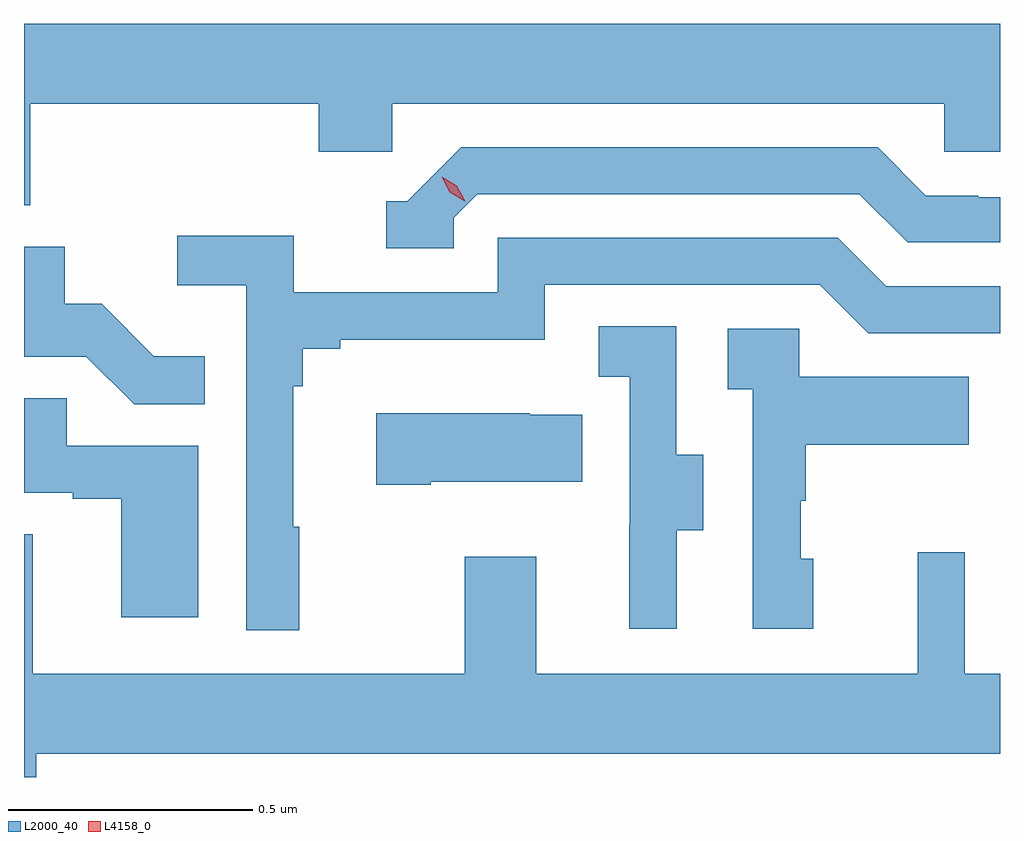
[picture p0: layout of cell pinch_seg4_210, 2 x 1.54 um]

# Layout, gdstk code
import gdstk
lib = gdstk.Library(unit=1e-6, precision=1e-09)
def P(c, l, *ps):  # polygons
    for p in ps: c.add(gdstk.Polygon(p, *l))
L2000_40 = (2000, 40)
L4158_0 = (4158, 0)

pinch_seg4_210 = lib.new_cell('pinch_seg4_210')
P(pinch_seg4_210, L2000_40, [(975.236,823.46),(975.827,823.46),(975.827,823.362),(975.978,823.362),(975.978,823.46),(977.109,823.46),(977.109,823.362),(977.223,823.362),(977.223,823.624),(975.223,823.624),(975.223,823.252),(975.236,823.252)],
  [(976.104,823.227),(976.152,823.275),(976.935,823.275),(977.034,823.176),(977.223,823.176),(977.223,823.269),(977.178,823.269),(977.178,823.272),(977.071,823.272),(976.972,823.371),(976.119,823.371),(976.008,823.26),(975.965,823.26),(975.965,823.164),(976.104,823.164)],
  [(975.787,822.593),(975.775,822.593),(975.775,822.881),(975.794,822.881),(975.794,822.958),(975.871,822.958),(975.871,822.977),(976.29,822.977),(976.29,823.089),(976.854,823.089),(976.953,822.99),(977.223,822.99),(977.223,823.086),(976.99,823.086),(976.891,823.185),(976.194,823.185),(976.194,823.074),(975.776,823.074),(975.776,823.19),(975.537,823.19),(975.537,823.088),(975.678,823.088),(975.678,822.381),(975.787,822.381)],
  [(975.593,822.943),(975.489,822.943),(975.382,823.05),(975.306,823.05),(975.306,823.167),(975.223,823.167),(975.223,822.942),(975.351,822.942),(975.449,822.844),(975.593,822.844)],
  [(976.561,822.586),(976.615,822.586),(976.615,822.741),(976.56,822.741),(976.56,823.004),(976.401,823.004),(976.401,822.901),(976.464,822.901),(976.464,822.597),(976.463,822.597),(976.463,822.384),(976.561,822.384)],
  [(976.84,822.528),(976.815,822.528),(976.815,822.647),(976.825,822.647),(976.825,822.761),(977.159,822.761),(977.159,822.901),(976.812,822.901),(976.812,822.999),(976.665,822.999),(976.665,822.875),(976.716,822.875),(976.716,822.384),(976.84,822.384)],
  [(975.58,822.759),(975.311,822.759),(975.311,822.857),(975.223,822.857),(975.223,822.663),(975.323,822.663),(975.323,822.651),(975.422,822.651),(975.422,822.408),(975.58,822.408)],
  [(976.057,822.686),(976.367,822.686),(976.367,822.823),(976.259,822.823),(976.259,822.826),(975.945,822.826),(975.945,822.679),(976.057,822.679)],
  [(975.248,822.128),(977.223,822.128),(977.223,822.292),(977.151,822.292),(977.151,822.541),(977.054,822.541),(977.054,822.292),(976.273,822.292),(976.273,822.532),(976.126,822.532),(976.126,822.292),(975.241,822.292),(975.241,822.578),(975.223,822.578),(975.223,822.08),(975.248,822.08)])
P(pinch_seg4_210, L4158_0, [(976.126,823.26),(976.095,823.279),(976.079,823.311),(976.079,823.311),(976.079,823.311),(976.11,823.292),(976.127,823.26),(976.127,823.26)])

lib.write_gds('pinch_seg4_210.gds')
